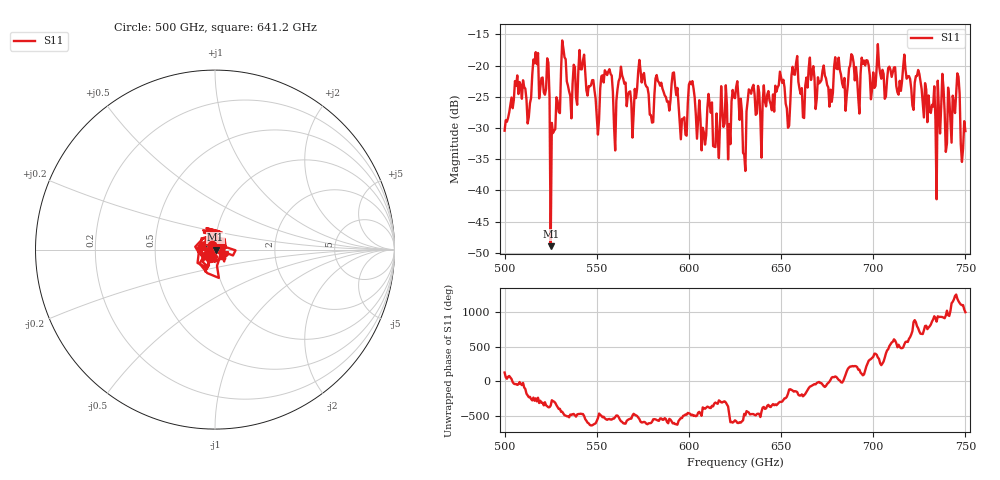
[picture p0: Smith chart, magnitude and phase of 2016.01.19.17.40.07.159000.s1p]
!Created with skrf (http://scikit-rf.org).
# GHz S RI R 50.0
!freq ReS11 ImS11
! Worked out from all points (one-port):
!   401 points, 500 GHz to 750 GHz, reference 50 ohm
!   lowest |S11| = -48.9 dB at 525 GHz (marker M1), VSWR 1.01, Z = 50.4 + j0.0469 ohm
!   |S11| at or under -10 dB: start of sweep to end of sweep
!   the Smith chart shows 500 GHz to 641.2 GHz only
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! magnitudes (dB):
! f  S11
! 500 GHz  -30.4
! 506.9 GHz  -21.6
! 513.1 GHz  -28.2
! 516.9 GHz  -17.8
! 523.1 GHz  -18.8
! 525 GHz  -48.9
! 526.2 GHz  -30.8
! 531.2 GHz  -16.0
! 535.6 GHz  -24.8
! 541.9 GHz  -20.6
! 550 GHz  -28.1
! 562.5 GHz  -22.0
! 593.8 GHz  -23.6
! 597.5 GHz  -28.3
! 601.2 GHz  -23.0
! 615 GHz  -27.7
! 625 GHz  -25.2
! 630 GHz  -34.2
! 633.8 GHz  -24.5
! 640 GHz  -25.9
! 650.6 GHz  -22.8
! 653.8 GHz  -30.0
! 656.2 GHz  -20.2
! 687.5 GHz  -19.9
! 718.8 GHz  -21.8
! 735 GHz  -22.4
! 745.6 GHz  -21.2
! 750 GHz  -30.5
